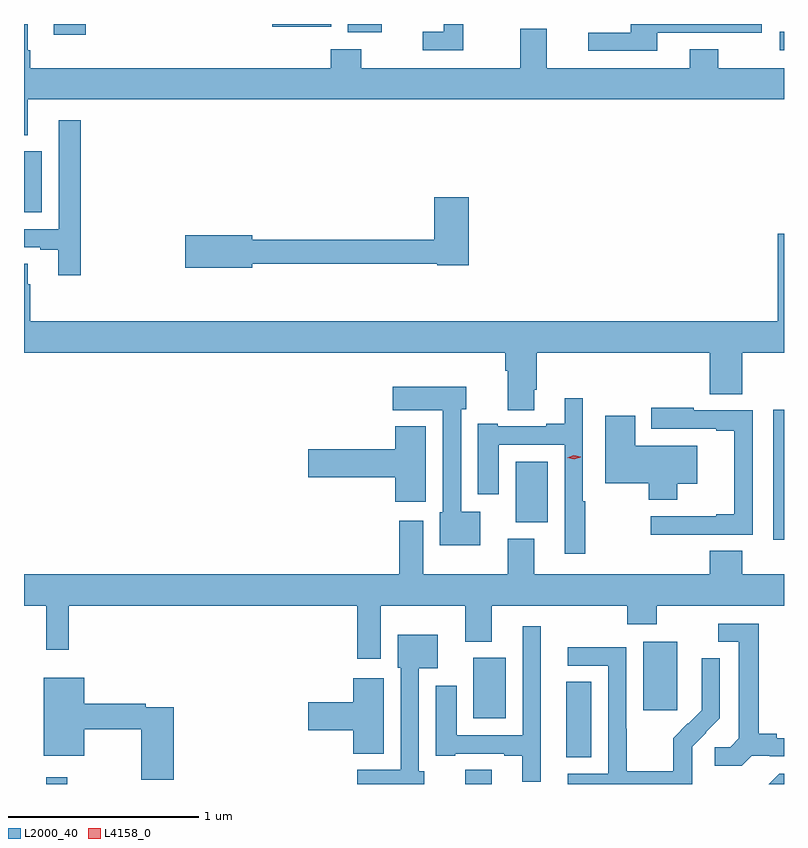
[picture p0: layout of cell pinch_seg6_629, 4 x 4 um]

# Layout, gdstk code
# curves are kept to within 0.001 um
import gdstk
lib = gdstk.Library(unit=1e-6, precision=1e-09)
def R(c, l, rs):  # rectangles x0, y0, x1, y1
    for r in rs: c.add(gdstk.rectangle(r[:2], r[2:], *l))
def P(c, l, *ps):  # polygons
    for p in ps: c.add(gdstk.Polygon(p, *l))
L2000_40 = (2000, 40)
L4158_0 = (4158, 0)

pinch_seg6_629 = lib.new_cell('pinch_seg6_629')
R(pinch_seg6_629, L2000_40, [(453.89,943.733,454,943.768), (456.095,943.733,456.235,943.808), (456.626,943.873,456.757,944.27), (456.137,944.078,456.307,944.398), (457.031,944.121,457.21,944.482), (457.715,945.018,457.772,945.703), (456.359,945.11,456.529,945.43), (453.772,946.742,453.865,947.062), (457.749,947.595,457.772,947.691), (453.929,947.676,454.097,947.733), (455.477,947.69,455.656,947.733), (455.079,947.719,455.388,947.733)])
P(pinch_seg6_629, L2000_40, [(457.105,947.688),(457.656,947.688),(457.656,947.733),(456.965,947.733),(456.965,947.688),(456.741,947.688),(456.741,947.592),(457.105,947.592)],
  [(453.793,947.336),(457.772,947.336),(457.772,947.5),(457.425,947.5),(457.425,947.599),(457.277,947.599),(457.277,947.5),(456.523,947.5),(456.523,947.708),(456.383,947.708),(456.383,947.5),(455.547,947.5),(455.547,947.599),(455.387,947.599),(455.387,947.5),(453.806,947.5),(453.806,947.596),(453.793,947.596),(453.793,947.733),(453.772,947.733),(453.772,947.147),(453.793,947.147)],
  [(456.085,947.733),(455.981,947.733),(455.981,947.691),(455.871,947.691),(455.871,947.595),(456.085,947.595)],
  [(454.07,947.227),(453.954,947.227),(453.954,946.653),(453.772,946.653),(453.772,946.557),(453.857,946.557),(453.857,946.545),(453.953,946.545),(453.953,946.41),(454.07,946.41)],
  [(454.972,946.47),(455.946,946.47),(455.946,946.462),(456.113,946.462),(456.113,946.822),(455.93,946.822),(455.93,946.598),(454.972,946.598),(454.972,946.622),(454.62,946.622),(454.62,946.451),(454.972,946.451)],
  [(456.457,945.808),(456.47,945.808),(456.47,946.004),(457.382,946.004),(457.382,945.784),(457.553,945.784),(457.553,946.004),(457.772,946.004),(457.772,946.63),(457.739,946.63),(457.739,946.168),(453.806,946.168),(453.806,946.364),(453.793,946.364),(453.793,946.472),(453.772,946.472),(453.772,946.004),(456.305,946.004),(456.305,945.908),(456.317,945.908),(456.317,945.7),(456.457,945.7)],
  [(456.172,945.166),(456.072,945.166),(456.072,945.705),(456.1,945.705),(456.1,945.823),(455.712,945.823),(455.712,945.701),(455.976,945.701),(455.976,945.162),(455.96,945.162),(455.96,944.99),(456.172,944.99)],
  [(456.727,945.221),(456.714,945.221),(456.714,945.763),(456.617,945.763),(456.617,945.628),(456.521,945.628),(456.521,945.615),(456.265,945.615),(456.265,945.628),(456.161,945.628),(456.161,945.258),(456.271,945.258),(456.271,945.519),(456.618,945.519),(456.618,944.946),(456.727,944.946)],
  [(457.298,945.045),(457.608,945.045),(457.608,945.699),(457.298,945.699),(457.298,945.712),(457.073,945.712),(457.073,945.603),(457.415,945.603),(457.415,945.591),(457.511,945.591),(457.511,945.154),(457.415,945.154),(457.415,945.141),(457.071,945.141),(457.071,945.044),(457.298,945.044)],
  [(457.209,945.314),(457.315,945.314),(457.315,945.514),(456.988,945.514),(456.988,945.67),(456.83,945.67),(456.83,945.317),(457.06,945.317),(457.06,945.23),(457.209,945.23)],
  [(455.887,945.616),(455.726,945.616),(455.726,945.494),(455.268,945.494),(455.268,945.347),(455.726,945.347),(455.726,945.219),(455.887,945.219)],
  [(455.65,944.672),(456.095,944.672),(456.095,944.483),(456.235,944.483),(456.235,944.672),(456.946,944.672),(456.946,944.573),(457.101,944.573),(457.101,944.672),(457.772,944.672),(457.772,944.836),(457.553,944.836),(457.553,944.96),(457.382,944.96),(457.382,944.836),(456.457,944.836),(456.457,945.025),(456.317,945.025),(456.317,944.836),(455.872,944.836),(455.872,945.118),(455.747,945.118),(455.747,944.836),(453.772,944.836),(453.772,944.672),(453.89,944.672),(453.89,944.439),(454.007,944.439),(454.007,944.672),(455.525,944.672),(455.525,944.391),(455.65,944.391)],
  [(457.602,943.881),(457.696,943.881),(457.696,943.878),(457.772,943.878),(457.772,943.974),(457.735,943.974),(457.735,943.997),(457.639,943.997),(457.639,944.577),(457.425,944.577),(457.425,944.481),(457.535,944.481),(457.535,943.973),(457.488,943.926),(457.407,943.926),(457.407,943.829),(457.55,943.829)],
  [(456.493,944.563),(456.396,944.563),(456.396,943.989),(456.049,943.989),(456.049,944.251),(455.939,944.251),(455.939,943.881),(456.043,943.881),(456.043,943.893),(456.299,943.893),(456.299,943.881),(456.395,943.881),(456.395,943.746),(456.493,943.746)],
  [(455.878,943.8),(455.85,943.8),(455.85,944.342),(455.95,944.342),(455.95,944.518),(455.738,944.518),(455.738,944.346),(455.754,944.346),(455.754,943.807),(455.526,943.807),(455.526,943.733),(455.878,943.733)],
  [(457.29,943.833),(457.288,943.833),(457.288,943.93),(457.434,944.078),(457.434,944.396),(457.338,944.396),(457.338,944.242),(457.34,944.242),(457.34,944.12),(457.269,944.049),(457.266,944.052),(457.189,943.975),(457.189,943.801),(456.945,943.801),(456.945,944.024),(456.942,944.024),(456.942,944.454),(456.633,944.454),(456.633,944.355),(456.846,944.355),(456.846,943.788),(456.633,943.788),(456.633,943.733),(457.29,943.733)],
  [(454.559,944.136),(454.412,944.136),(454.412,944.156),(454.09,944.156),(454.09,944.293),(453.875,944.293),(453.875,943.883),(454.09,943.883),(454.09,944.02),(454.388,944.02),(454.388,943.755),(454.559,943.755)],
  [(455.665,944.29),(455.504,944.29),(455.504,944.162),(455.268,944.162),(455.268,944.015),(455.504,944.015),(455.504,943.892),(455.665,943.892)],
  [(457.772,943.788),(457.746,943.788),(457.691,943.733),(457.772,943.733)])
P(pinch_seg6_629, L4158_0, [(456.667,945.442),(456.63,945.45),(456.63,945.45),(456.63,945.45),(456.665,945.462),(456.702,945.455),(456.702,945.455),(456.702,945.454)])

lib.write_gds('pinch_seg6_629.gds')
